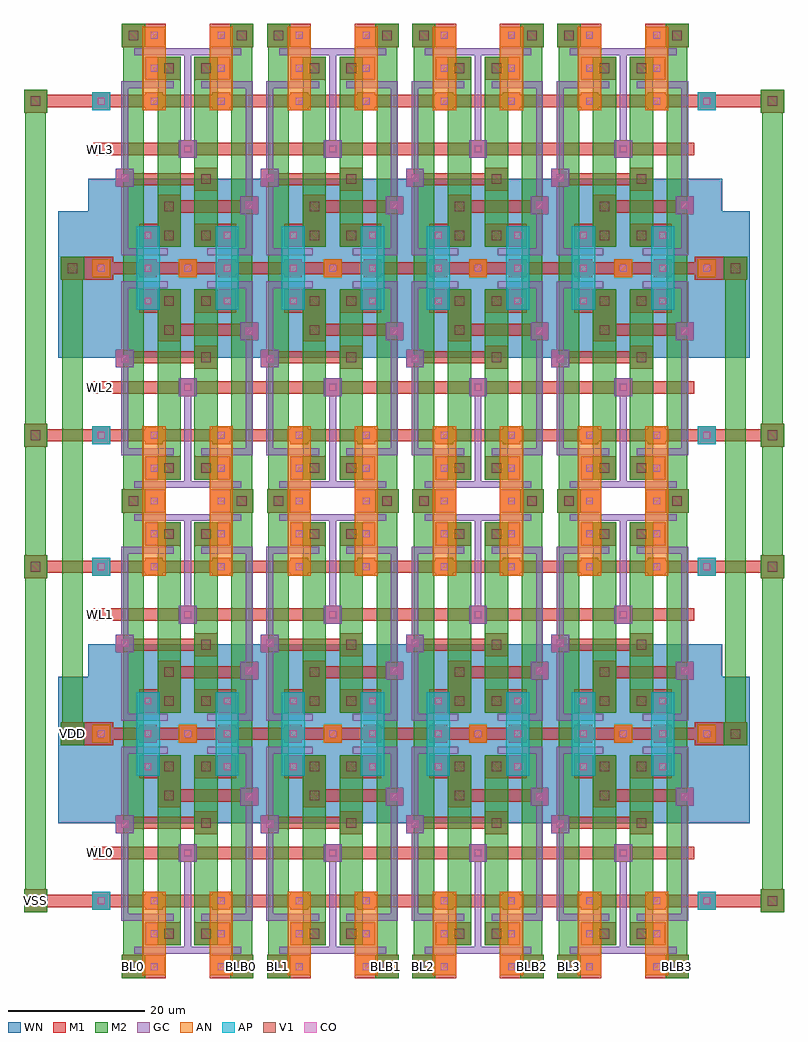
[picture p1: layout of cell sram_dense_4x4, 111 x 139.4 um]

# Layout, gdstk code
import gdstk
lib = gdstk.Library(unit=1e-6, precision=1e-07)
def R(c, l, rs):  # rectangles x0, y0, x1, y1
    for r in rs: c.add(gdstk.rectangle(r[:2], r[2:], *l))
def A(c, l, x, y, w, h, nx, ny, dx, dy):  # array of equal rectangles
    R(c, l, [(x+i*dx, y+j*dy, x+i*dx+w, y+j*dy+h) for i in range(nx) for j in range(ny)])
AP = (3, 1)
AN = (3, 2)
GC = (8, 1)
CO = (11, 0)
M1 = (13, 0)
V1 = (19, 0)
M2 = (20, 0)
WN = (140, 0)

sram_dense = lib.new_cell('sram_dense')
R(sram_dense, AP, [(3.3,27.9,6.7,35.3), (14.9,27.9,18.3,35.3)])
R(sram_dense, AN, [(4.2,-1.3,7.6,10.9), (14,-1.3,17.4,10.9), (9.5,32.7,12.1,35.3)])
R(sram_dense, GC, [(3,1.9,8.8,2.9), (5.4,1.9,16.2,2.9), (10.3,1.9,11.3,17.1), (12.8,1.9,18.6,2.9), (1.1,6.7,6.4,7.7), (1.1,6.7,2.1,32.1), (3,6.7,8.8,7.7), (12.8,6.7,18.6,7.7), (15.2,6.7,20.3,7.7), (19.3,6.7,20.3,32.1), (9.5,15.3,12.1,17.9), (0.3,19.5,2.9,22.1), (18.5,23.5,21.1,26.1), (1.1,31.1,5.5,32.1), (2.1,31.1,7.9,32.1), (13.7,31.1,19.5,32.1), (16.1,31.1,20.3,32.1)])
A(sram_dense, CO, 5.4, -0.5, 1, 1, 1, 3, 0, 4.8)
A(sram_dense, CO, 15.2, -0.5, 1, 1, 1, 3, 0, 4.8)
A(sram_dense, CO, 4.5, 33.5, 1, 1, 3, 1, 5.8, 0)
R(sram_dense, CO, [(10.3,16.1,11.3,17.1), (1.1,20.3,2.1,21.3), (19.3,24.3,20.3,25.3), (4.5,28.7,5.5,29.7), (16.1,28.7,17.1,29.7)])
A(sram_dense, M1, 4.6, -1.3, 2.6, 2.6, 1, 3, 0, 4.8)
A(sram_dense, M1, 14.4, -1.3, 2.6, 2.6, 1, 3, 0, 4.8)
A(sram_dense, M1, 3.7, 32.7, 2.6, 2.6, 3, 1, 5.8, 0)
R(sram_dense, M1, [(1.2,-1.7,7.6,1.7), (1.2,-1.7,4.6,1.7), (14,-1.7,20.4,1.7), (17,-1.7,20.4,1.7), (4.6,3.1,9.4,6.5), (6.4,3.1,9.8,6.5), (11.8,3.1,15.2,6.5), (12.2,3.1,17,6.5), (0,8.7,21.2,10.5), (9.5,15.3,12.1,17.9), (0,15.7,21.2,17.5), (11.8,19.3,15.2,22.7), (0.3,19.5,2.9,22.1), (0.7,20.1,14.4,21.9), (6.4,23.3,9.8,26.7), (6.4,23.3,9.8,30.9), (18.5,23.5,21.1,26.1), (7.2,24.1,20.7,25.9), (3.7,27.5,9.4,30.9), (6.4,27.5,9.8,30.9), (11.8,27.5,15.2,30.9), (12.2,27.5,17.9,30.9), (3.7,27.9,6.3,30.5), (15.3,27.9,17.9,30.5), (0,33.1,21.2,34.9)])
R(sram_dense, V1, [(2.2,-0.7,3.6,0.7), (18,-0.7,19.4,0.7), (7.4,4.1,8.8,5.5), (12.8,4.1,14.2,5.5), (12.8,20.3,14.2,21.7), (7.4,24.3,8.8,25.7), (7.4,28.5,8.8,29.9), (12.8,28.5,14.2,29.9)])
R(sram_dense, M2, [(1.2,-1.7,4.6,1.7), (1.4,-1.7,4.4,34), (17,-1.7,20.4,1.7), (17.2,-1.7,20.2,34), (6.4,3.1,9.8,6.5), (6.4,3.1,9.8,30.9), (11.8,3.1,15.2,6.5), (11.8,3.1,15.2,30.9), (11.8,19.3,15.2,22.7), (6.4,23.3,9.8,26.7), (6.4,27.5,9.8,30.9), (11.8,27.5,15.2,30.9)])
R(sram_dense, WN, [(-3.7,20.9,25.3,42.3)])

sram_dense_4x4 = lib.new_cell('sram_dense_4x4')
R(sram_dense_4x4, AP, [(-3.1,8.3,-0.5,10.9), (85.3,8.3,87.9,10.9), (-3.1,57.1,-0.5,59.7), (85.3,57.1,87.9,59.7), (-3.1,76.3,-0.5,78.9), (85.3,76.3,87.9,78.9), (-3.1,125.1,-0.5,127.7), (85.3,125.1,87.9,127.7)])
R(sram_dense_4x4, AN, [(-3.1,32.7,-0.5,35.3), (85.3,32.7,87.9,35.3), (-3.1,100.7,-0.5,103.3), (85.3,100.7,87.9,103.3)])
A(sram_dense_4x4, CO, -2.3, 9.1, 1, 1, 1, 3, 0, 24.4)
A(sram_dense_4x4, CO, 86.1, 9.1, 1, 1, 1, 3, 0, 24.4)
A(sram_dense_4x4, CO, -2.3, 77.1, 1, 1, 1, 3, 0, 24.4)
A(sram_dense_4x4, CO, 86.1, 77.1, 1, 1, 1, 3, 0, 24.4)
A(sram_dense_4x4, M1, -3.1, 8.3, 2.6, 2.6, 1, 3, 0, 24.4)
A(sram_dense_4x4, M1, 85.3, 8.3, 2.6, 2.6, 1, 3, 0, 24.4)
A(sram_dense_4x4, M1, 0, 8.7, 84.8, 1.8, 1, 3, 0, 24.4)
A(sram_dense_4x4, M1, -3.1, 76.3, 2.6, 2.6, 1, 3, 0, 24.4)
A(sram_dense_4x4, M1, 85.3, 76.3, 2.6, 2.6, 1, 3, 0, 24.4)
A(sram_dense_4x4, M1, 0, 76.7, 84.8, 1.8, 1, 3, 0, 24.4)
R(sram_dense_4x4, M1, [(-13.1,7.9,-9.7,11.3), (94.5,7.9,97.9,11.3), (-12.3,8.7,0.9,10.5), (83.9,8.7,97.1,10.5), (-3,15.7,84.8,17.5), (-7.7,32.3,-0.1,35.7), (-7.7,32.3,-4.3,35.7), (84.9,32.3,92.5,35.7), (89.1,32.3,92.5,35.7), (-2.7,33.1,0.9,34.9), (83.9,33.1,87.5,34.9), (-3,50.5,84.8,52.3), (-13.1,56.7,-9.7,60.1), (94.5,56.7,97.9,60.1), (-12.3,57.5,0.9,59.3), (83.9,57.5,97.1,59.3), (-13.1,75.9,-9.7,79.3), (94.5,75.9,97.9,79.3), (-12.3,76.7,0.9,78.5), (83.9,76.7,97.1,78.5), (-3,83.7,84.8,85.5), (-7.7,100.3,-0.1,103.7), (-7.7,100.3,-4.3,103.7), (84.9,100.3,92.5,103.7), (89.1,100.3,92.5,103.7), (-2.7,101.1,0.9,102.9), (83.9,101.1,87.5,102.9), (-3,118.5,84.8,120.3), (-13.1,124.7,-9.7,128.1), (94.5,124.7,97.9,128.1), (-12.3,125.5,0.9,127.3), (83.9,125.5,97.1,127.3)])
R(sram_dense_4x4, V1, [(-12.1,8.9,-10.7,10.3), (95.5,8.9,96.9,10.3), (-6.7,33.3,-5.3,34.7), (90.1,33.3,91.5,34.7), (-12.1,57.7,-10.7,59.1), (95.5,57.7,96.9,59.1), (-12.1,76.9,-10.7,78.3), (95.5,76.9,96.9,78.3), (-6.7,101.3,-5.3,102.7), (90.1,101.3,91.5,102.7), (-12.1,125.7,-10.7,127.1), (95.5,125.7,96.9,127.1)])
R(sram_dense_4x4, M2, [(-13.1,7.9,-9.7,11.3), (-12.9,7.9,-9.9,128.1), (94.5,7.9,97.9,11.3), (94.7,7.9,97.7,128.1), (-7.7,32.3,-4.3,35.7), (-7.5,32.3,-4.5,103.7), (89.1,32.3,92.5,35.7), (89.3,32.3,92.3,103.7), (-13.1,56.7,-9.7,60.1), (94.5,56.7,97.9,60.1), (-13.1,75.9,-9.7,79.3), (94.5,75.9,97.9,79.3), (-7.7,100.3,-4.3,103.7), (89.1,100.3,92.5,103.7), (-13.1,124.7,-9.7,128.1), (94.5,124.7,97.9,128.1)])
R(sram_dense_4x4, WN, [(-8.1,20.9,84.8,42.3), (0,20.9,92.9,42.3), (-8.1,88.9,84.8,110.3), (0,88.9,92.9,110.3)])
r = gdstk.Reference(sram_dense, (0,0)); r.repetition = gdstk.Repetition(4, 1, v1=(21.2,0), v2=(0,0)); sram_dense_4x4.add(r)
r = gdstk.Reference(sram_dense, (0,68), x_reflection=True); r.repetition = gdstk.Repetition(4, 1, v1=(21.2,0), v2=(0,0)); sram_dense_4x4.add(r)
r = gdstk.Reference(sram_dense, (0,68)); r.repetition = gdstk.Repetition(4, 1, v1=(21.2,0), v2=(0,0)); sram_dense_4x4.add(r)
r = gdstk.Reference(sram_dense, (0,136), x_reflection=True); r.repetition = gdstk.Repetition(4, 1, v1=(21.2,0), v2=(0,0)); sram_dense_4x4.add(r)
sram_dense_4x4.add(gdstk.Label('WL0', (-2,16.6), layer=48, texttype=0))
sram_dense_4x4.add(gdstk.Label('WL1', (-2,51.4), layer=48, texttype=0))
sram_dense_4x4.add(gdstk.Label('WL2', (-2,84.6), layer=48, texttype=0))
sram_dense_4x4.add(gdstk.Label('WL3', (-2,119.4), layer=48, texttype=0))
sram_dense_4x4.add(gdstk.Label('VDD', (-6,34), layer=49, texttype=0))
sram_dense_4x4.add(gdstk.Label('VSS', (-11.4,9.6), layer=49, texttype=0))
sram_dense_4x4.add(gdstk.Label('BL0', (2.9,0), layer=49, texttype=0))
sram_dense_4x4.add(gdstk.Label('BLB0', (18.7,0), layer=49, texttype=0))
sram_dense_4x4.add(gdstk.Label('BL1', (24.1,0), layer=49, texttype=0))
sram_dense_4x4.add(gdstk.Label('BLB1', (39.9,0), layer=49, texttype=0))
sram_dense_4x4.add(gdstk.Label('BL2', (45.3,0), layer=49, texttype=0))
sram_dense_4x4.add(gdstk.Label('BLB2', (61.1,0), layer=49, texttype=0))
sram_dense_4x4.add(gdstk.Label('BL3', (66.5,0), layer=49, texttype=0))
sram_dense_4x4.add(gdstk.Label('BLB3', (82.3,0), layer=49, texttype=0))

lib.write_gds('sram_dense_4x4.gds')
